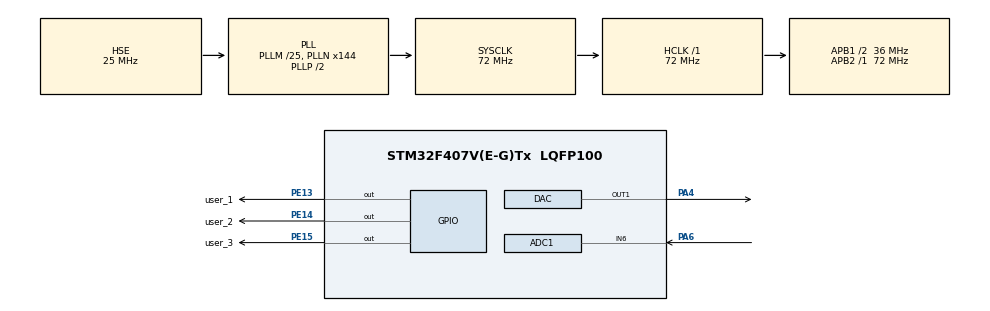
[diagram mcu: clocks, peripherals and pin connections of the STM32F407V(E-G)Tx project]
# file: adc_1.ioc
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ADC1.Channel-3\#ChannelRegularConversion=ADC_CHANNEL_6
ADC1.ClockPrescaler=ADC_CLOCK_SYNC_PCLK_DIV2
ADC1.ContinuousConvMode=ENABLE
ADC1.DMAContinuousRequests=ENABLE
ADC1.DataAlign=ADC_DATAALIGN_RIGHT
ADC1.DiscontinuousConvMode=DISABLE
ADC1.EOCSelection=ADC_EOC_SINGLE_CONV
ADC1.EnableAnalogWatchDog=false
ADC1.ExternalTrigConv=ADC_SOFTWARE_START
ADC1.ExternalTrigConvEdge=ADC_EXTERNALTRIGCONVEDGE_NONE
ADC1.InjNumberOfConversion=0
ADC1.NbrOfConversion=1
ADC1.NbrOfConversionFlag=1
ADC1.Rank-3\#ChannelRegularConversion=1
ADC1.Resolution=ADC_RESOLUTION_12B
ADC1.SamplingTime-3\#ChannelRegularConversion=ADC_SAMPLETIME_3CYCLES
ADC1.ScanConvMode=DISABLE
ADC1.master=1
Dma.ADC1.0.Direction=DMA_PERIPH_TO_MEMORY
Dma.ADC1.0.FIFOMode=DMA_FIFOMODE_DISABLE
Dma.ADC1.0.Instance=DMA2_Stream0
Dma.ADC1.0.MemDataAlignment=DMA_MDATAALIGN_HALFWORD
Dma.ADC1.0.MemInc=DMA_MINC_ENABLE
Dma.ADC1.0.Mode=DMA_NORMAL
Dma.ADC1.0.PeriphDataAlignment=DMA_PDATAALIGN_HALFWORD
Dma.ADC1.0.PeriphInc=DMA_PINC_DISABLE
Dma.ADC1.0.Priority=DMA_PRIORITY_LOW
Dma.Request0=ADC1
FREERTOS.HEAP_NUMBER=1
FREERTOS.Tasks01=ADC_Task,0,128,Start_ADC_Task,As weak,NULL,Dynamic,NULL,NULL;DAC_TASK,-3,128,Start_DAC_TASK,As weak,NULL,Dynamic,NULL,NULL;LED_TASK,-3,128,Start_LED_TASK,As weak,NULL,Dynamic,NULL,NULL
Mcu.Family=STM32F4
Mcu.Name=STM32F407V(E-G)Tx
Mcu.Package=LQFP100
NVIC.DMA2_Stream0_IRQn=true\:5\:0\:false\:false\:true\:true\:false
NVIC.PriorityGroup=NVIC_PRIORITYGROUP_4
NVIC.TIM7_IRQn=true\:0\:0\:false\:false\:true\:false\:false
NVIC.TimeBase=TIM7_IRQn
NVIC.TimeBaseIP=TIM7
PA13.Mode=Serial_Wire
PA13.Signal=SYS_JTMS-SWDIO
PA14.Mode=Serial_Wire
PA14.Signal=SYS_JTCK-SWCLK
PA4.Signal=SharedAnalog_PA4
PA6.Signal=SharedAnalog_PA6
PE13.GPIO_Label=user_1
PE13.GPIO_PuPd=GPIO_PULLUP
PE13.Signal=GPIO_Output
PE14.GPIO_Label=user_2
PE14.GPIO_PuPd=GPIO_PULLUP
PE14.Signal=GPIO_Output
PE15.GPIO_Label=user_3
PE15.GPIO_PuPd=GPIO_PULLUP
PE15.Signal=GPIO_Output
PH0-OSC_IN.Mode=HSE-External-Oscillator
PH0-OSC_IN.Signal=RCC_OSC_IN
PH1-OSC_OUT.Mode=HSE-External-Oscillator
PH1-OSC_OUT.Signal=RCC_OSC_OUT
ProjectManager.HeapSize=0x200
ProjectManager.StackSize=0x400
ProjectManager.TargetToolchain=MDK-ARM V5
RCC.48MHZClocksFreq_Value=36000000
RCC.AHBFreq_Value=72000000
RCC.APB1CLKDivider=RCC_HCLK_DIV2
RCC.APB1Freq_Value=36000000
RCC.APB1TimFreq_Value=72000000
RCC.APB2Freq_Value=72000000
RCC.APB2TimFreq_Value=72000000
RCC.CortexFreq_Value=72000000
RCC.HCLKFreq_Value=72000000
RCC.HSE_VALUE=25000000
RCC.HSI_VALUE=16000000
RCC.LSE_VALUE=32768
RCC.PLLM=25
RCC.PLLN=144
RCC.PLLSourceVirtual=RCC_PLLSOURCE_HSE
RCC.SYSCLKFreq_VALUE=72000000
RCC.SYSCLKSource=RCC_SYSCLKSOURCE_PLLCLK
RCC.VCOOutputFreq_Value=144000000
SH.SharedAnalog_PA4.0=GPIO_Analog
SH.SharedAnalog_PA4.1=DAC_OUT1,DAC_OUT1
SH.SharedAnalog_PA6.0=GPIO_Analog
SH.SharedAnalog_PA6.1=ADC1_IN6,IN6
VP_FREERTOS_VS_ENABLE.Mode=Enabled
VP_SYS_VS_tim7.Mode=TIM7
board=custom

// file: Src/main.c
/**
  ******************************************************************************
  * @file           : main.c
  * @brief          : Main program body
  ******************************************************************************
  * This notice applies to any and all portions of this file
  * that are not between comment pairs USER CODE BEGIN and
  * USER CODE END. Other portions of this file, whether
  * inserted by the user or by software development tools
  * are owned by their respective copyright owners.
  *
  * Copyright (c) 2021 STMicroelectronics International N.V.
  * All rights reserved.
  *
  * Redistribution and use in source and binary forms, with or without
  * modification, are permitted, provided that the following conditions are met:
  *
  * 1. Redistribution of source code must retain the above copyright notice,
  *    this list of conditions and the following disclaimer.
  * 2. Redistributions in binary form must reproduce the above copyright notice,
  *    this list of conditions and the following disclaimer in the documentation
  *    and/or other materials provided with the distribution.
  * 3. Neither the name of STMicroelectronics nor the names of other
  *    contributors to this software may be used to endorse or promote products
  *    derived from this software without specific written permission.
  * 4. This software, including modifications and/or derivative works of this
  *    software, must execute solely and exclusively on microcontroller or
  *    microprocessor devices manufactured by or for STMicroelectronics.
  * 5. Redistribution and use of this software other than as permitted under
  *    this license is void and will automatically terminate your rights under
  *    this license.
  *
  * THIS SOFTWARE IS PROVIDED BY STMICROELECTRONICS AND CONTRIBUTORS "AS IS"
  * AND ANY EXPRESS, IMPLIED OR STATUTORY WARRANTIES, INCLUDING, BUT NOT
  * LIMITED TO, THE IMPLIED WARRANTIES OF MERCHANTABILITY, FITNESS FOR A
  * PARTICULAR PURPOSE AND NON-INFRINGEMENT OF THIRD PARTY INTELLECTUAL PROPERTY
  * RIGHTS ARE DISCLAIMED TO THE FULLEST EXTENT PERMITTED BY LAW. IN NO EVENT
  * SHALL STMICROELECTRONICS OR CONTRIBUTORS BE LIABLE FOR ANY DIRECT, INDIRECT,
  * INCIDENTAL, SPECIAL, EXEMPLARY, OR CONSEQUENTIAL DAMAGES (INCLUDING, BUT NOT
  * LIMITED TO, PROCUREMENT OF SUBSTITUTE GOODS OR SERVICES; LOSS OF USE, DATA,
  * OR PROFITS; OR BUSINESS INTERRUPTION) HOWEVER CAUSED AND ON ANY THEORY OF
  * LIABILITY, WHETHER IN CONTRACT, STRICT LIABILITY, OR TORT (INCLUDING
  * NEGLIGENCE OR OTHERWISE) ARISING IN ANY WAY OUT OF THE USE OF THIS SOFTWARE,
  * EVEN IF ADVISED OF THE POSSIBILITY OF SUCH DAMAGE.
  *
  ******************************************************************************
  */
#include "main.h"
#include "stm32f4xx_hal.h"
#include "cmsis_os.h"

ADC_HandleTypeDef hadc1;
DMA_HandleTypeDef hdma_adc1;

DAC_HandleTypeDef hdac;

osThreadId ADC_TaskHandle;
osThreadId DAC_TASKHandle;
osThreadId LED_TASKHandle;

/* USER CODE BEGIN PV */
/* Private variables ---------------------------------------------------------*/
	uint32_t adc_Result = 0;
/* USER CODE END PV */

void SystemClock_Config(void);
static void MX_GPIO_Init(void);
static void MX_DMA_Init(void);
static void MX_ADC1_Init(void);
static void MX_DAC_Init(void);
void Start_ADC_Task(void const * argument);
void Start_DAC_TASK(void const * argument);
void Start_LED_TASK(void const * argument);

/* USER CODE BEGIN PFP */
/* Private function prototypes -----------------------------------------------*/

/* USER CODE END PFP */

/* USER CODE BEGIN 0 */
#define adc_0V_Value  0;
#define adc_1V_Value  1241;
#define adc_2V_Value  2482;
#define adc_3V_Value  3723;

/* USER CODE END 0 */

int main(void)
{

  /* MCU Configuration----------------------------------------------------------*/

  /* Reset of all peripherals, Initializes the Flash interface and the Systick. */
  HAL_Init();

  /* Configure the system clock */
  SystemClock_Config();

  /* Initialize all configured peripherals */
  MX_GPIO_Init();
  MX_DMA_Init();
  MX_ADC1_Init();
  MX_DAC_Init();

  /* Create the thread(s) */
  /* definition and creation of ADC_Task */
  osThreadDef(ADC_Task, Start_ADC_Task, osPriorityNormal, 0, 128);
  ADC_TaskHandle = osThreadCreate(osThread(ADC_Task), NULL);

  /* definition and creation of DAC_TASK */
  osThreadDef(DAC_TASK, Start_DAC_TASK, osPriorityIdle, 0, 128);
  DAC_TASKHandle = osThreadCreate(osThread(DAC_TASK), NULL);

  /* definition and creation of LED_TASK */
  osThreadDef(LED_TASK, Start_LED_TASK, osPriorityIdle, 0, 128);
  LED_TASKHandle = osThreadCreate(osThread(LED_TASK), NULL);

  /* Start scheduler */
  osKernelStart();

  /* We should never get here as control is now taken by the scheduler */

  /* Infinite loop */
  while (1)
  {

	}

}

void SystemClock_Config(void)
{

  RCC_OscInitTypeDef RCC_OscInitStruct;
  RCC_ClkInitTypeDef RCC_ClkInitStruct;

    /**Configure the main internal regulator output voltage
    */
  __HAL_RCC_PWR_CLK_ENABLE();

  __HAL_PWR_VOLTAGESCALING_CONFIG(PWR_REGULATOR_VOLTAGE_SCALE1);

    /**Initializes the CPU, AHB and APB busses clocks
    */
  RCC_OscInitStruct.OscillatorType = RCC_OSCILLATORTYPE_HSE;
  RCC_OscInitStruct.HSEState = RCC_HSE_ON;
  RCC_OscInitStruct.PLL.PLLState = RCC_PLL_ON;
  RCC_OscInitStruct.PLL.PLLSource = RCC_PLLSOURCE_HSE;
  RCC_OscInitStruct.PLL.PLLM = 25;
  RCC_OscInitStruct.PLL.PLLN = 144;
  RCC_OscInitStruct.PLL.PLLP = RCC_PLLP_DIV2;
  RCC_OscInitStruct.PLL.PLLQ = 4;
  if (HAL_RCC_OscConfig(&RCC_OscInitStruct) != HAL_OK)
  {
    _Error_Handler(__FILE__, __LINE__);
  }

    /**Initializes the CPU, AHB and APB busses clocks
    */
  RCC_ClkInitStruct.ClockType = RCC_CLOCKTYPE_HCLK|RCC_CLOCKTYPE_SYSCLK
                              |RCC_CLOCKTYPE_PCLK1|RCC_CLOCKTYPE_PCLK2;
  RCC_ClkInitStruct.SYSCLKSource = RCC_SYSCLKSOURCE_PLLCLK;
  RCC_ClkInitStruct.AHBCLKDivider = RCC_SYSCLK_DIV1;
  RCC_ClkInitStruct.APB1CLKDivider = RCC_HCLK_DIV2;
  RCC_ClkInitStruct.APB2CLKDivider = RCC_HCLK_DIV1;

  if (HAL_RCC_ClockConfig(&RCC_ClkInitStruct, FLASH_LATENCY_2) != HAL_OK)
  {
    _Error_Handler(__FILE__, __LINE__);
  }

    /**Configure the Systick interrupt time
    */
  HAL_SYSTICK_Config(HAL_RCC_GetHCLKFreq()/1000);

    /**Configure the Systick
    */
  HAL_SYSTICK_CLKSourceConfig(SYSTICK_CLKSOURCE_HCLK);

  /* SysTick_IRQn interrupt configuration */
  HAL_NVIC_SetPriority(SysTick_IRQn, 15, 0);
}

/* ADC1 init function */
static void MX_ADC1_Init(void)
{

  ADC_ChannelConfTypeDef sConfig;

    /**Configure the global features of the ADC (Clock, Resolution, Data Alignment and number of conversion)
    */
  hadc1.Instance = ADC1;
  hadc1.Init.ClockPrescaler = ADC_CLOCK_SYNC_PCLK_DIV2;
  hadc1.Init.Resolution = ADC_RESOLUTION_12B;
  hadc1.Init.ScanConvMode = DISABLE;
  hadc1.Init.ContinuousConvMode = ENABLE;
  hadc1.Init.DiscontinuousConvMode = DISABLE;
  hadc1.Init.ExternalTrigConvEdge = ADC_EXTERNALTRIGCONVEDGE_NONE;
  hadc1.Init.ExternalTrigConv = ADC_SOFTWARE_START;
  hadc1.Init.DataAlign = ADC_DATAALIGN_RIGHT;
  hadc1.Init.NbrOfConversion = 1;
  hadc1.Init.DMAContinuousRequests = ENABLE;
  hadc1.Init.EOCSelection = ADC_EOC_SINGLE_CONV;
  if (HAL_ADC_Init(&hadc1) != HAL_OK)
  {
    _Error_Handler(__FILE__, __LINE__);
  }

    /**Configure for the selected ADC regular channel its corresponding rank in the sequencer and its sample time.
    */
  sConfig.Channel = ADC_CHANNEL_6;
  sConfig.Rank = 1;
  sConfig.SamplingTime = ADC_SAMPLETIME_3CYCLES;
  if (HAL_ADC_ConfigChannel(&hadc1, &sConfig) != HAL_OK)
  {
    _Error_Handler(__FILE__, __LINE__);
  }

}

/* DAC init function */
static void MX_DAC_Init(void)
{

  DAC_ChannelConfTypeDef sConfig;

    /**DAC Initialization
    */
  hdac.Instance = DAC;
  if (HAL_DAC_Init(&hdac) != HAL_OK)
  {
    _Error_Handler(__FILE__, __LINE__);
  }

    /**DAC channel OUT1 config
    */
  sConfig.DAC_Trigger = DAC_TRIGGER_NONE;
  sConfig.DAC_OutputBuffer = DAC_OUTPUTBUFFER_ENABLE;
  if (HAL_DAC_ConfigChannel(&hdac, &sConfig, DAC_CHANNEL_1) != HAL_OK)
  {
    _Error_Handler(__FILE__, __LINE__);
  }

}

static void MX_DMA_Init(void)
{
  /* DMA controller clock enable */
  __HAL_RCC_DMA2_CLK_ENABLE();

  /* DMA interrupt init */
  /* DMA2_Stream0_IRQn interrupt configuration */
  HAL_NVIC_SetPriority(DMA2_Stream0_IRQn, 5, 0);
  HAL_NVIC_EnableIRQ(DMA2_Stream0_IRQn);

}

/** Configure pins as
        * Analog
        * Input
        * Output
        * EVENT_OUT
        * EXTI
     PA4   ------> SharedAnalog_PA4
     PA6   ------> SharedAnalog_PA6
*/
static void MX_GPIO_Init(void)
{

  GPIO_InitTypeDef GPIO_InitStruct;

  /* GPIO Ports Clock Enable */
  __HAL_RCC_GPIOH_CLK_ENABLE();
  __HAL_RCC_GPIOA_CLK_ENABLE();
  __HAL_RCC_GPIOE_CLK_ENABLE();

  /*Configure GPIO pin Output Level */
  HAL_GPIO_WritePin(GPIOE, user_1_Pin|user_2_Pin|user_3_Pin, GPIO_PIN_RESET);

  /*Configure GPIO pins : PA4 PA6 */
  GPIO_InitStruct.Pin = GPIO_PIN_4|GPIO_PIN_6;
  GPIO_InitStruct.Mode = GPIO_MODE_ANALOG;
  GPIO_InitStruct.Pull = GPIO_NOPULL;
  HAL_GPIO_Init(GPIOA, &GPIO_InitStruct);

  /*Configure GPIO pins : user_1_Pin user_2_Pin user_3_Pin */
  GPIO_InitStruct.Pin = user_1_Pin|user_2_Pin|user_3_Pin;
  GPIO_InitStruct.Mode = GPIO_MODE_OUTPUT_PP;
  GPIO_InitStruct.Pull = GPIO_PULLUP;
  GPIO_InitStruct.Speed = GPIO_SPEED_FREQ_LOW;
  HAL_GPIO_Init(GPIOE, &GPIO_InitStruct);

}

__weak void Start_ADC_Task(void const * argument)
{

  /* USER CODE BEGIN 5 */
  /* Infinite loop */
  for(;;)
  {
		HAL_ADC_Start_DMA(&hadc1, &adc_Result,1);
//		HAL_ADC_PollForConversion(&hadc1, HAL_MAX_DELAY);
 		adc_Result = HAL_ADC_GetValue(&hadc1);
		HAL_ADC_Stop_DMA(&hadc1);

    osDelay(1);
  }
  /* USER CODE END 5 */
}

__weak void Start_DAC_TASK(void const * argument)
{
  /* USER CODE BEGIN Start_DAC_TASK */
  /* Infinite loop */
  for(;;)
  {
		HAL_DAC_Start(&hdac, DAC_CHANNEL_1);
		HAL_DAC_SetValue(&hdac, DAC_CHANNEL_1, DAC_ALIGN_12B_R, adc_Result);

    osDelay(1);
  }
  /* USER CODE END Start_DAC_TASK */
}

__weak void Start_LED_TASK(void const * argument)
{
  /* USER CODE BEGIN Start_LED_TASK */
  /* Infinite loop */
  for(;;)
  {
		if( adc_Result < 1241 ){

		HAL_GPIO_TogglePin(user_1_GPIO_Port, user_1_Pin);
//			HAL_Delay(500);
//
					}
		if((adc_Result >= 1241) && (adc_Result < 2482))
		{
		HAL_GPIO_TogglePin(user_2_GPIO_Port, user_2_Pin);
//			HAL_Delay(500);
		}

		if(adc_Result >= 2482)
		{
			HAL_GPIO_TogglePin(user_3_GPIO_Port, user_3_Pin);
		}
    osDelay(1);
  }
  /* USER CODE END Start_LED_TASK */
}

void HAL_TIM_PeriodElapsedCallback(TIM_HandleTypeDef *htim)
{
  if (htim->Instance == TIM7) {
    HAL_IncTick();
  }
}

void _Error_Handler(char *file, int line)
{
  while(1)
  {
  }
}

/************************ (C) COPYRIGHT STMicroelectronics *****END OF FILE****/
